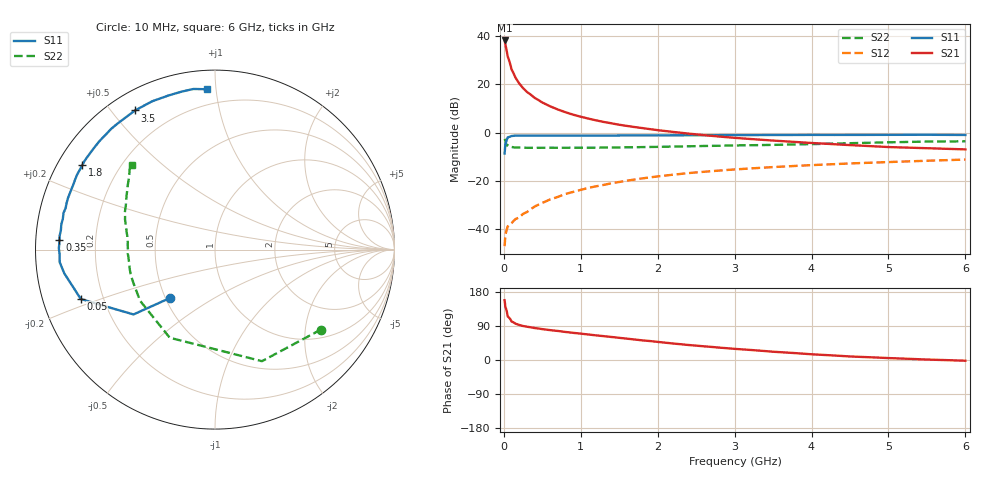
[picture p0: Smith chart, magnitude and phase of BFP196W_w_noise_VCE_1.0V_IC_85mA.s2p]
! Infineon Technologies  Discrete & RF Semiconductors
! BFP196W
! VCE =  1.0 V,  IC =  85 mA
! Common Emitter S-Parameters:  Jan 2017
# GHz  S  MA  R  50
!  f  S11  S21  S12  S22
! GHz  MAG  ANG  MAG  ANG  MAG  ANG  MAG  ANG
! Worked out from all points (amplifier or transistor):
!   77 points, 10 MHz to 6 GHz, reference 50 ohm
!   highest |S21| = 38.3 dB at 10 MHz (marker M1)
!   |S21| within 3 dB of that: start of sweep to 29.04 MHz
!   unconditionally stable (mu >= 1): 349.2 MHz to end of sweep
!   at 130 MHz: K = 0.66, MSG = 30.5 dB, |S12| = -36.5 dB
!   at 2.2 GHz: K = 1.08, MAG = 7.2 dB, |S12| = -17.5 dB
!   at 6 GHz: K = 1.04, MAG = 0.9 dB, |S12| = -11.2 dB
!   lowest NFmin = 1.73 dB at 450 MHz
!   S11 on the Smith chart (normalised r, x): 10 MHz: 0.53, -0.33; 50 MHz: 0.12, -0.18; 350 MHz: 0.07, +0.03; 1.8 GHz: 0.07, +0.29; 3.5 GHz: 0.07, +0.58; 6 GHz: 0.11, +0.95
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0.01  0.3695 -133.0  81.84 157.8  0.0044 67.3  0.7398 -37.0
0.02  0.5802 -141.5  67.82 140.0  0.0075 56.8  0.6745 -67.2
0.05  0.797 -159.8  38.13 114.8  0.0113 41.3  0.5519 -117.2
0.1  0.8498 -171.0  20.56 101.5  0.0132 40.6  0.5054 -145.6
0.15  0.8679 -175.3  13.93 96.0  0.016 46.6  0.4915 -157.3
0.2  0.8661 -178.2  10.49 92.4  0.0174 52.1  0.4899 -163.0
0.25  0.8701 179.6  8.399 89.7  0.0206 54.5  0.4876 -166.9
0.3  0.8682 178.0  6.998 87.8  0.0225 57.6  0.4846 -169.6
0.35  0.8684 176.5  6.133 86.3  0.0258 59.8  0.4841 -171.3
0.4  0.8691 175.0  5.274 84.3  0.0292 61.5  0.484 -173.1
0.5  0.8655 172.8  4.218 81.5  0.0348 64.4  0.4847 -175.6
0.6  0.8677 170.6  3.529 78.9  0.041 65.3  0.4867 -177.5
0.8  0.8683 166.4  2.655 74.0  0.0533 67.3  0.485 179.8
1.1  0.8681 160.7  1.953 67.3  0.0713 66.4  0.4876 176.3
1.5  0.8719 153.3  1.457 58.5  0.0946 63.3  0.4934 172.1
1.8  0.8763 147.6  1.243 51.8  0.1123 60.3  0.501 169.1
2.1  0.8792 142.1  1.079 45.7  0.1286 57.3  0.5102 166.2
3.1  0.8878 125.9  0.759 28.0  0.1761 46.5  0.545 156.9
3.5  0.8942 119.9  0.684 21.8  0.1928 42.7  0.5566 153.1
4.1  0.8965 111.8  0.598 14.0  0.2151 36.9  0.5821 147.6
5.1  0.8998 101.1  0.496 4.4  0.2481 28.3  0.6335 138.9
6  0.8943 92.9  0.449 -1.9  0.276 21.1  0.6604 134.4
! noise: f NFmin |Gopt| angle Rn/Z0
0.45  1.73  0.57  -175  0.06
0.9  1.87  0.6  -168  0.08
1.9  2.74  0.7  -148  0.21
2.4  3.15  0.74  -143  0.34
